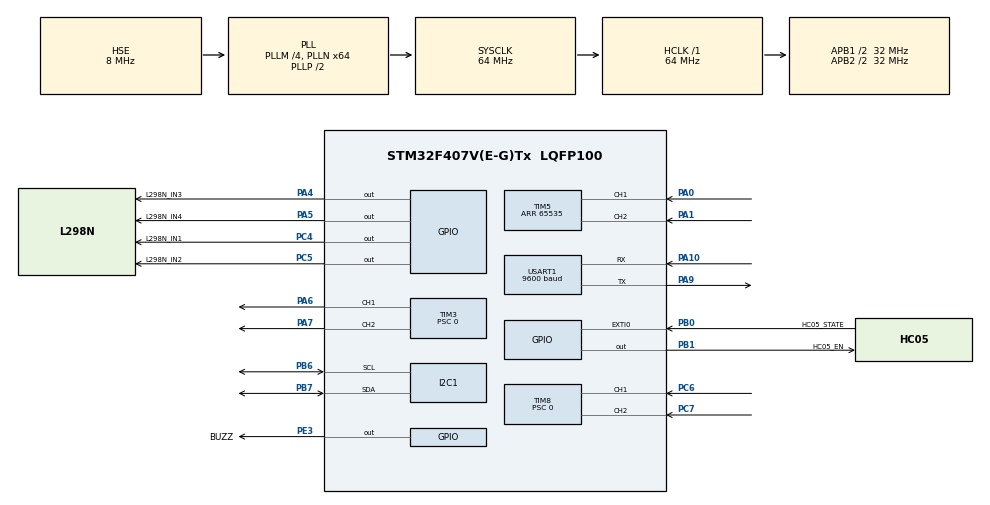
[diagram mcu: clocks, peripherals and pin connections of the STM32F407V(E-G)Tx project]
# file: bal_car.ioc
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Dma.Request0=USART1_TX
Dma.Request1=USART1_RX
Dma.USART1_RX.1.Direction=DMA_PERIPH_TO_MEMORY
Dma.USART1_RX.1.FIFOMode=DMA_FIFOMODE_DISABLE
Dma.USART1_RX.1.Instance=DMA2_Stream2
Dma.USART1_RX.1.MemDataAlignment=DMA_MDATAALIGN_BYTE
Dma.USART1_RX.1.MemInc=DMA_MINC_ENABLE
Dma.USART1_RX.1.Mode=DMA_NORMAL
Dma.USART1_RX.1.PeriphDataAlignment=DMA_PDATAALIGN_BYTE
Dma.USART1_RX.1.PeriphInc=DMA_PINC_DISABLE
Dma.USART1_RX.1.Priority=DMA_PRIORITY_LOW
Dma.USART1_TX.0.Direction=DMA_MEMORY_TO_PERIPH
Dma.USART1_TX.0.FIFOMode=DMA_FIFOMODE_DISABLE
Dma.USART1_TX.0.Instance=DMA2_Stream7
Dma.USART1_TX.0.MemDataAlignment=DMA_MDATAALIGN_BYTE
Dma.USART1_TX.0.MemInc=DMA_MINC_ENABLE
Dma.USART1_TX.0.Mode=DMA_NORMAL
Dma.USART1_TX.0.PeriphDataAlignment=DMA_PDATAALIGN_BYTE
Dma.USART1_TX.0.PeriphInc=DMA_PINC_DISABLE
Dma.USART1_TX.0.Priority=DMA_PRIORITY_LOW
I2C1.I2C_Mode=I2C_Fast
Mcu.Family=STM32F4
Mcu.Name=STM32F407V(E-G)Tx
Mcu.Package=LQFP100
NVIC.DMA2_Stream2_IRQn=true\:0\:0\:false\:false\:true\:false\:true\:true
NVIC.DMA2_Stream7_IRQn=true\:0\:0\:false\:false\:true\:false\:true\:true
NVIC.EXTI0_IRQn=true\:0\:0\:false\:false\:true\:true\:true\:true
NVIC.PriorityGroup=NVIC_PRIORITYGROUP_4
NVIC.TIM1_UP_TIM10_IRQn=true\:0\:0\:false\:false\:true\:true\:true\:true
NVIC.TIM2_IRQn=true\:0\:0\:false\:false\:true\:true\:true\:true
NVIC.TIM4_IRQn=true\:0\:0\:false\:false\:true\:true\:true\:true
NVIC.TIM8_UP_TIM13_IRQn=true\:0\:0\:false\:false\:true\:true\:true\:true
NVIC.USART1_IRQn=true\:0\:0\:false\:false\:true\:true\:true\:true
PA0-WKUP.Signal=S_TIM5_CH1
PA1.Signal=S_TIM5_CH2
PA10.Mode=Asynchronous
PA10.Signal=USART1_RX
PA13.Mode=Serial_Wire
PA13.Signal=SYS_JTMS-SWDIO
PA14.Mode=Serial_Wire
PA14.Signal=SYS_JTCK-SWCLK
PA4.GPIO_Label=L298N_IN3
PA4.Signal=GPIO_Output
PA5.GPIO_Label=L298N_IN4
PA5.Signal=GPIO_Output
PA6.Signal=S_TIM3_CH1
PA7.Signal=S_TIM3_CH2
PA9.Mode=Asynchronous
PA9.Signal=USART1_TX
PB0.GPIO_Label=HC05_STATE
PB0.GPIO_ModeDefaultEXTI=GPIO_MODE_IT_RISING_FALLING
PB0.GPIO_PuPd=GPIO_PULLDOWN
PB0.Signal=GPXTI0
PB1.GPIO_Label=HC05_EN
PB1.Signal=GPIO_Output
PB6.Mode=I2C
PB6.Signal=I2C1_SCL
PB7.Mode=I2C
PB7.Signal=I2C1_SDA
PC4.GPIO_Label=L298N_IN1
PC4.Signal=GPIO_Output
PC5.GPIO_Label=L298N_IN2
PC5.Signal=GPIO_Output
PC6.Signal=S_TIM8_CH1
PC7.Signal=S_TIM8_CH2
PE3.GPIO_Label=BUZZ
PE3.PinState=GPIO_PIN_SET
PE3.Signal=GPIO_Output
PH0-OSC_IN.Mode=HSE-External-Oscillator
PH0-OSC_IN.Signal=RCC_OSC_IN
PH1-OSC_OUT.Mode=HSE-External-Oscillator
PH1-OSC_OUT.Signal=RCC_OSC_OUT
ProjectManager.HeapSize=0x200
ProjectManager.StackSize=0x400
ProjectManager.TargetToolchain=STM32CubeIDE
RCC.48MHZClocksFreq_Value=32000000
RCC.AHBFreq_Value=64000000
RCC.APB1CLKDivider=RCC_HCLK_DIV2
RCC.APB1Freq_Value=32000000
RCC.APB1TimFreq_Value=64000000
RCC.APB2CLKDivider=RCC_HCLK_DIV2
RCC.APB2Freq_Value=32000000
RCC.APB2TimFreq_Value=64000000
RCC.CortexFreq_Value=64000000
RCC.HCLKFreq_Value=64000000
RCC.HSE_VALUE=8000000
RCC.HSI_VALUE=16000000
RCC.LSE_VALUE=32768
RCC.PLLM=4
RCC.PLLN=64
RCC.PLLSourceVirtual=RCC_PLLSOURCE_HSE
RCC.SYSCLKFreq_VALUE=64000000
RCC.SYSCLKSource=RCC_SYSCLKSOURCE_PLLCLK
RCC.VCOOutputFreq_Value=128000000
SH.S_TIM3_CH1.0=TIM3_CH1,PWM Generation1 CH1
SH.S_TIM3_CH2.0=TIM3_CH2,PWM Generation2 CH2
SH.S_TIM5_CH1.0=TIM5_CH1,Encoder_Interface
SH.S_TIM5_CH2.0=TIM5_CH2,Encoder_Interface
SH.S_TIM8_CH1.0=TIM8_CH1,Encoder_Interface
SH.S_TIM8_CH2.0=TIM8_CH2,Encoder_Interface
TIM1.Period=63999
TIM1.Prescaler=9
TIM2.Period=39999
TIM3.Channel-PWM\ Generation1\ CH1=TIM_CHANNEL_1
TIM3.Channel-PWM\ Generation2\ CH2=TIM_CHANNEL_2
TIM3.Period=3199
TIM3.Prescaler=0
TIM4.Period=63999
TIM4.Prescaler=24
TIM5.EncoderMode=TIM_ENCODERMODE_TI12
TIM5.Period=65535
TIM8.EncoderMode=TIM_ENCODERMODE_TI12
TIM8.Period=65535
TIM8.Prescaler=0
USART1.BaudRate=9600
USART1.VirtualMode=VM_ASYNC
VP_TIM1_VS_ClockSourceINT.Mode=Internal
VP_TIM2_VS_ClockSourceINT.Mode=Internal
VP_TIM3_VS_ClockSourceINT.Mode=Internal
VP_TIM4_VS_ClockSourceINT.Mode=Internal
board=custom

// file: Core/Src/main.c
/* USER CODE BEGIN Header */
/**
 ******************************************************************************
 * @file           : main.c
 * @brief          : Main program body
 ******************************************************************************
 * @attention
 *
 * Copyright (c) 2026 STMicroelectronics.
 * All rights reserved.
 *
 * This software is licensed under terms that can be found in the LICENSE file
 * in the root directory of this software component.
 * If no LICENSE file comes with this software, it is provided AS-IS.
 *
 ******************************************************************************
 */
/* USER CODE END Header */
#include "main.h"

/* USER CODE BEGIN Includes */
#include "l298n.h"
#include "mpu6050.h"
#include "math.h"

#include "stdio.h"
#include "stdlib.h"
#include "pidcb.h"
#include "hc05.h"

#include "conf.h"
#include "encoder.h"
#include "interrupt.h"
#include <stdio.h>
#include <stdlib.h>
#include "mixer.h"
/* USER CODE END Includes */

I2C_HandleTypeDef hi2c1;

TIM_HandleTypeDef htim1;
TIM_HandleTypeDef htim2;
TIM_HandleTypeDef htim3;
TIM_HandleTypeDef htim4;
TIM_HandleTypeDef htim5;
TIM_HandleTypeDef htim8;

UART_HandleTypeDef huart1;
DMA_HandleTypeDef hdma_usart1_tx;
DMA_HandleTypeDef hdma_usart1_rx;

void SystemClock_Config(void);
static void MX_GPIO_Init(void);
static void MX_DMA_Init(void);
static void MX_TIM3_Init(void);
static void MX_TIM5_Init(void);
static void MX_TIM2_Init(void);
static void MX_I2C1_Init(void);
static void MX_TIM1_Init(void);
static void MX_USART1_UART_Init(void);
static void MX_TIM8_Init(void);
static void MX_TIM4_Init(void);

/* USER CODE BEGIN 0 */
float v_ref_r = 0, e_prev_r = 0;
float v_ref_l = 0, e_prev_l = 0;
float pitch_rate = 0, pitch = 0;
float yaw_rate = 0, yaw = 0;
float speed_rpm_l = 0;
float speed_rpm_r = 0;
/* USER CODE END 0 */

int main(void)
{

  /* MCU Configuration--------------------------------------------------------*/

  /* Reset of all peripherals, Initializes the Flash interface and the Systick. */
  HAL_Init();

  /* Configure the system clock */
  SystemClock_Config();

  /* Initialize all configured peripherals */
  MX_GPIO_Init();
  MX_DMA_Init();
  MX_TIM3_Init();
  MX_TIM5_Init();
  MX_TIM2_Init();
  MX_I2C1_Init();
  MX_TIM1_Init();
  MX_USART1_UART_Init();
  MX_TIM8_Init();
  MX_TIM4_Init();
  /* USER CODE BEGIN 2 */

  Encoder_Init(&enc_r, &htim5, ENCODER_PPR, ENCODER_MULT, ENC_CENTER, ENC_TS);
  Encoder_Init(&enc_l, &htim8, ENCODER_PPR, ENCODER_MULT, ENC_CENTER, ENC_TS);
  HC05_Init(&hc05, &huart1, &hdma_usart1_rx, (Pin_t){HC05_EN_GPIO_Port, HC05_EN_Pin}, (Pin_t){HC05_STATE_GPIO_Port, HC05_STATE_Pin});
  MPU6050_Init(&mpu, &hi2c1, MPU6050_ADDR_1, MPU_UNIT, MPU_TS);
  MPU6050_Config(&mpu);
  L298N_Init(&l298, &htim3, (Pin_t){L298N_IN1_GPIO_Port, L298N_IN1_Pin}, (Pin_t){L298N_IN2_GPIO_Port, L298N_IN2_Pin}, (Pin_t){L298N_IN3_GPIO_Port, L298N_IN3_Pin}, (Pin_t){L298N_IN4_GPIO_Port, L298N_IN4_Pin}, TIM_CHANNEL_1, TIM_CHANNEL_2);
  PID_Init(&pid_vec_left, 0, KP_VECL, KI_VECL, KD_VECL, TS_VEC, OUT_MIN_VEC, OUT_MAX_VEC, INT_MIN_VEC, INT_MAX_VEC);
  PID_Init(&pid_vec_right, 0, KP_VECR, KI_VECR, KD_VECR, TS_VEC, OUT_MIN_VEC, OUT_MAX_VEC, INT_MIN_VEC, INT_MAX_VEC);
  PID_Init(&pid_pitch, SP_P, KP_P, KI_P, KD_P, TS_P, OUT_MIN_P, OUT_MAX_P, INT_MIN_P, INT_MAX_P);
  PID_Init(&pid_yaw, SP_Y, KP_Y, KI_Y, KD_Y, TS_P, OUT_MIN_Y, OUT_MAX_Y, INT_MIN_Y, INT_MAX_Y);

  HC05_Start_Rx_DMA(&hc05);
  Encoder_Start(&enc_l);
  Encoder_Start(&enc_r);
  MPU6050_Calibrate(&mpu, MPU_N_SAMPLES);

  HAL_TIM_Base_Start_IT(&htim4); // Read Encoder
  HAL_TIM_Base_Start_IT(&htim1); // Read IMU
  L298N_Set_Duty(&l298, MOTOR1, 100.0f);
  L298N_Set_Duty(&l298, MOTOR2, 100.0f);
  L298N_Update_Motor(&l298);
  /* USER CODE END 2 */

  /* Infinite loop */
  /* USER CODE BEGIN WHILE */
  //	float measurement;
  //	float gyro_rate;

  while (1)
  {
	  if(read_speed_flag == 1)
	  {
		  read_speed_flag = 0;
		  Encoder_Calc_Speed(&enc_l, 0.9);
		  Encoder_Calc_Speed(&enc_r, 0.9);
		  speed_rpm_l = Change_Unit(enc_l.speed_filtered, RadPS, RoundPM);
		  speed_rpm_r = Change_Unit(enc_r.speed_filtered, RadPS, RoundPM);

	  }
  }
    /* USER CODE END WHILE */

}

void SystemClock_Config(void)
{
  RCC_OscInitTypeDef RCC_OscInitStruct = {0};
  RCC_ClkInitTypeDef RCC_ClkInitStruct = {0};

  /** Configure the main internal regulator output voltage
  */
  __HAL_RCC_PWR_CLK_ENABLE();
  __HAL_PWR_VOLTAGESCALING_CONFIG(PWR_REGULATOR_VOLTAGE_SCALE1);

  /** Initializes the RCC Oscillators according to the specified parameters
  * in the RCC_OscInitTypeDef structure.
  */
  RCC_OscInitStruct.OscillatorType = RCC_OSCILLATORTYPE_HSE;
  RCC_OscInitStruct.HSEState = RCC_HSE_ON;
  RCC_OscInitStruct.PLL.PLLState = RCC_PLL_ON;
  RCC_OscInitStruct.PLL.PLLSource = RCC_PLLSOURCE_HSE;
  RCC_OscInitStruct.PLL.PLLM = 4;
  RCC_OscInitStruct.PLL.PLLN = 64;
  RCC_OscInitStruct.PLL.PLLP = RCC_PLLP_DIV2;
  RCC_OscInitStruct.PLL.PLLQ = 4;
  if (HAL_RCC_OscConfig(&RCC_OscInitStruct) != HAL_OK)
  {
    Error_Handler();
  }

  /** Initializes the CPU, AHB and APB buses clocks
  */
  RCC_ClkInitStruct.ClockType = RCC_CLOCKTYPE_HCLK|RCC_CLOCKTYPE_SYSCLK
                              |RCC_CLOCKTYPE_PCLK1|RCC_CLOCKTYPE_PCLK2;
  RCC_ClkInitStruct.SYSCLKSource = RCC_SYSCLKSOURCE_PLLCLK;
  RCC_ClkInitStruct.AHBCLKDivider = RCC_SYSCLK_DIV1;
  RCC_ClkInitStruct.APB1CLKDivider = RCC_HCLK_DIV2;
  RCC_ClkInitStruct.APB2CLKDivider = RCC_HCLK_DIV2;

  if (HAL_RCC_ClockConfig(&RCC_ClkInitStruct, FLASH_LATENCY_2) != HAL_OK)
  {
    Error_Handler();
  }
}

static void MX_I2C1_Init(void)
{

  hi2c1.Instance = I2C1;
  hi2c1.Init.ClockSpeed = 400000;
  hi2c1.Init.DutyCycle = I2C_DUTYCYCLE_2;
  hi2c1.Init.OwnAddress1 = 0;
  hi2c1.Init.AddressingMode = I2C_ADDRESSINGMODE_7BIT;
  hi2c1.Init.DualAddressMode = I2C_DUALADDRESS_DISABLE;
  hi2c1.Init.OwnAddress2 = 0;
  hi2c1.Init.GeneralCallMode = I2C_GENERALCALL_DISABLE;
  hi2c1.Init.NoStretchMode = I2C_NOSTRETCH_DISABLE;
  if (HAL_I2C_Init(&hi2c1) != HAL_OK)
  {
    Error_Handler();
  }

}

static void MX_TIM1_Init(void)
{

  TIM_ClockConfigTypeDef sClockSourceConfig = {0};
  TIM_MasterConfigTypeDef sMasterConfig = {0};

  htim1.Instance = TIM1;
  htim1.Init.Prescaler = 9;
  htim1.Init.CounterMode = TIM_COUNTERMODE_UP;
  htim1.Init.Period = 63999;
  htim1.Init.ClockDivision = TIM_CLOCKDIVISION_DIV1;
  htim1.Init.RepetitionCounter = 0;
  htim1.Init.AutoReloadPreload = TIM_AUTORELOAD_PRELOAD_DISABLE;
  if (HAL_TIM_Base_Init(&htim1) != HAL_OK)
  {
    Error_Handler();
  }
  sClockSourceConfig.ClockSource = TIM_CLOCKSOURCE_INTERNAL;
  if (HAL_TIM_ConfigClockSource(&htim1, &sClockSourceConfig) != HAL_OK)
  {
    Error_Handler();
  }
  sMasterConfig.MasterOutputTrigger = TIM_TRGO_RESET;
  sMasterConfig.MasterSlaveMode = TIM_MASTERSLAVEMODE_DISABLE;
  if (HAL_TIMEx_MasterConfigSynchronization(&htim1, &sMasterConfig) != HAL_OK)
  {
    Error_Handler();
  }

}

static void MX_TIM2_Init(void)
{

  TIM_ClockConfigTypeDef sClockSourceConfig = {0};
  TIM_MasterConfigTypeDef sMasterConfig = {0};

  htim2.Instance = TIM2;
  htim2.Init.Prescaler = 0;
  htim2.Init.CounterMode = TIM_COUNTERMODE_UP;
  htim2.Init.Period = 39999;
  htim2.Init.ClockDivision = TIM_CLOCKDIVISION_DIV1;
  htim2.Init.AutoReloadPreload = TIM_AUTORELOAD_PRELOAD_DISABLE;
  if (HAL_TIM_Base_Init(&htim2) != HAL_OK)
  {
    Error_Handler();
  }
  sClockSourceConfig.ClockSource = TIM_CLOCKSOURCE_INTERNAL;
  if (HAL_TIM_ConfigClockSource(&htim2, &sClockSourceConfig) != HAL_OK)
  {
    Error_Handler();
  }
  sMasterConfig.MasterOutputTrigger = TIM_TRGO_RESET;
  sMasterConfig.MasterSlaveMode = TIM_MASTERSLAVEMODE_DISABLE;
  if (HAL_TIMEx_MasterConfigSynchronization(&htim2, &sMasterConfig) != HAL_OK)
  {
    Error_Handler();
  }

}

static void MX_TIM3_Init(void)
{

  TIM_ClockConfigTypeDef sClockSourceConfig = {0};
  TIM_MasterConfigTypeDef sMasterConfig = {0};
  TIM_OC_InitTypeDef sConfigOC = {0};

  htim3.Instance = TIM3;
  htim3.Init.Prescaler = 0;
  htim3.Init.CounterMode = TIM_COUNTERMODE_UP;
  htim3.Init.Period = 3199;
  htim3.Init.ClockDivision = TIM_CLOCKDIVISION_DIV1;
  htim3.Init.AutoReloadPreload = TIM_AUTORELOAD_PRELOAD_DISABLE;
  if (HAL_TIM_Base_Init(&htim3) != HAL_OK)
  {
    Error_Handler();
  }
  sClockSourceConfig.ClockSource = TIM_CLOCKSOURCE_INTERNAL;
  if (HAL_TIM_ConfigClockSource(&htim3, &sClockSourceConfig) != HAL_OK)
  {
    Error_Handler();
  }
  if (HAL_TIM_PWM_Init(&htim3) != HAL_OK)
  {
    Error_Handler();
  }
  sMasterConfig.MasterOutputTrigger = TIM_TRGO_RESET;
  sMasterConfig.MasterSlaveMode = TIM_MASTERSLAVEMODE_DISABLE;
  if (HAL_TIMEx_MasterConfigSynchronization(&htim3, &sMasterConfig) != HAL_OK)
  {
    Error_Handler();
  }
  sConfigOC.OCMode = TIM_OCMODE_PWM1;
  sConfigOC.Pulse = 0;
  sConfigOC.OCPolarity = TIM_OCPOLARITY_HIGH;
  sConfigOC.OCFastMode = TIM_OCFAST_DISABLE;
  if (HAL_TIM_PWM_ConfigChannel(&htim3, &sConfigOC, TIM_CHANNEL_1) != HAL_OK)
  {
    Error_Handler();
  }
  if (HAL_TIM_PWM_ConfigChannel(&htim3, &sConfigOC, TIM_CHANNEL_2) != HAL_OK)
  {
    Error_Handler();
  }
  HAL_TIM_MspPostInit(&htim3);

}

static void MX_TIM4_Init(void)
{

  TIM_ClockConfigTypeDef sClockSourceConfig = {0};
  TIM_MasterConfigTypeDef sMasterConfig = {0};

  htim4.Instance = TIM4;
  htim4.Init.Prescaler = 24;
  htim4.Init.CounterMode = TIM_COUNTERMODE_UP;
  htim4.Init.Period = 63999;
  htim4.Init.ClockDivision = TIM_CLOCKDIVISION_DIV1;
  htim4.Init.AutoReloadPreload = TIM_AUTORELOAD_PRELOAD_DISABLE;
  if (HAL_TIM_Base_Init(&htim4) != HAL_OK)
  {
    Error_Handler();
  }
  sClockSourceConfig.ClockSource = TIM_CLOCKSOURCE_INTERNAL;
  if (HAL_TIM_ConfigClockSource(&htim4, &sClockSourceConfig) != HAL_OK)
  {
    Error_Handler();
  }
  sMasterConfig.MasterOutputTrigger = TIM_TRGO_RESET;
  sMasterConfig.MasterSlaveMode = TIM_MASTERSLAVEMODE_DISABLE;
  if (HAL_TIMEx_MasterConfigSynchronization(&htim4, &sMasterConfig) != HAL_OK)
  {
    Error_Handler();
  }

}

static void MX_TIM5_Init(void)
{

  TIM_Encoder_InitTypeDef sConfig = {0};
  TIM_MasterConfigTypeDef sMasterConfig = {0};

  htim5.Instance = TIM5;
  htim5.Init.Prescaler = 0;
  htim5.Init.CounterMode = TIM_COUNTERMODE_UP;
  htim5.Init.Period = 65535;
  htim5.Init.ClockDivision = TIM_CLOCKDIVISION_DIV1;
  htim5.Init.AutoReloadPreload = TIM_AUTORELOAD_PRELOAD_DISABLE;
  sConfig.EncoderMode = TIM_ENCODERMODE_TI12;
  sConfig.IC1Polarity = TIM_ICPOLARITY_RISING;
  sConfig.IC1Selection = TIM_ICSELECTION_DIRECTTI;
  sConfig.IC1Prescaler = TIM_ICPSC_DIV1;
  sConfig.IC1Filter = 0;
  sConfig.IC2Polarity = TIM_ICPOLARITY_RISING;
  sConfig.IC2Selection = TIM_ICSELECTION_DIRECTTI;
  sConfig.IC2Prescaler = TIM_ICPSC_DIV1;
  sConfig.IC2Filter = 0;
  if (HAL_TIM_Encoder_Init(&htim5, &sConfig) != HAL_OK)
  {
    Error_Handler();
  }
  sMasterConfig.MasterOutputTrigger = TIM_TRGO_RESET;
  sMasterConfig.MasterSlaveMode = TIM_MASTERSLAVEMODE_DISABLE;
  if (HAL_TIMEx_MasterConfigSynchronization(&htim5, &sMasterConfig) != HAL_OK)
  {
    Error_Handler();
  }

}

static void MX_TIM8_Init(void)
{

  TIM_Encoder_InitTypeDef sConfig = {0};
  TIM_MasterConfigTypeDef sMasterConfig = {0};

  htim8.Instance = TIM8;
  htim8.Init.Prescaler = 0;
  htim8.Init.CounterMode = TIM_COUNTERMODE_UP;
  htim8.Init.Period = 65535;
  htim8.Init.ClockDivision = TIM_CLOCKDIVISION_DIV1;
  htim8.Init.RepetitionCounter = 0;
  htim8.Init.AutoReloadPreload = TIM_AUTORELOAD_PRELOAD_DISABLE;
  sConfig.EncoderMode = TIM_ENCODERMODE_TI12;
  sConfig.IC1Polarity = TIM_ICPOLARITY_RISING;
  sConfig.IC1Selection = TIM_ICSELECTION_DIRECTTI;
  sConfig.IC1Prescaler = TIM_ICPSC_DIV1;
  sConfig.IC1Filter = 0;
  sConfig.IC2Polarity = TIM_ICPOLARITY_RISING;
  sConfig.IC2Selection = TIM_ICSELECTION_DIRECTTI;
  sConfig.IC2Prescaler = TIM_ICPSC_DIV1;
  sConfig.IC2Filter = 0;
  if (HAL_TIM_Encoder_Init(&htim8, &sConfig) != HAL_OK)
  {
    Error_Handler();
  }
  sMasterConfig.MasterOutputTrigger = TIM_TRGO_RESET;
  sMasterConfig.MasterSlaveMode = TIM_MASTERSLAVEMODE_DISABLE;
  if (HAL_TIMEx_MasterConfigSynchronization(&htim8, &sMasterConfig) != HAL_OK)
  {
    Error_Handler();
  }

}

static void MX_USART1_UART_Init(void)
{

  huart1.Instance = USART1;
  huart1.Init.BaudRate = 9600;
  huart1.Init.WordLength = UART_WORDLENGTH_8B;
  huart1.Init.StopBits = UART_STOPBITS_1;
  huart1.Init.Parity = UART_PARITY_NONE;
  huart1.Init.Mode = UART_MODE_TX_RX;
  huart1.Init.HwFlowCtl = UART_HWCONTROL_NONE;
  huart1.Init.OverSampling = UART_OVERSAMPLING_16;
  if (HAL_UART_Init(&huart1) != HAL_OK)
  {
    Error_Handler();
  }

}

static void MX_DMA_Init(void)
{

  /* DMA controller clock enable */
  __HAL_RCC_DMA2_CLK_ENABLE();

  /* DMA interrupt init */
  /* DMA2_Stream2_IRQn interrupt configuration */
  HAL_NVIC_SetPriority(DMA2_Stream2_IRQn, 0, 0);
  HAL_NVIC_EnableIRQ(DMA2_Stream2_IRQn);
  /* DMA2_Stream7_IRQn interrupt configuration */
  HAL_NVIC_SetPriority(DMA2_Stream7_IRQn, 0, 0);
  HAL_NVIC_EnableIRQ(DMA2_Stream7_IRQn);

}

static void MX_GPIO_Init(void)
{
  GPIO_InitTypeDef GPIO_InitStruct = {0};

  /* GPIO Ports Clock Enable */
  __HAL_RCC_GPIOE_CLK_ENABLE();
  __HAL_RCC_GPIOH_CLK_ENABLE();
  __HAL_RCC_GPIOA_CLK_ENABLE();
  __HAL_RCC_GPIOC_CLK_ENABLE();
  __HAL_RCC_GPIOB_CLK_ENABLE();

  /*Configure GPIO pin Output Level */
  HAL_GPIO_WritePin(BUZZ_GPIO_Port, BUZZ_Pin, GPIO_PIN_SET);

  /*Configure GPIO pin Output Level */
  HAL_GPIO_WritePin(GPIOA, L298N_IN3_Pin|L298N_IN4_Pin, GPIO_PIN_RESET);

  /*Configure GPIO pin Output Level */
  HAL_GPIO_WritePin(GPIOC, L298N_IN1_Pin|L298N_IN2_Pin, GPIO_PIN_RESET);

  /*Configure GPIO pin Output Level */
  HAL_GPIO_WritePin(HC05_EN_GPIO_Port, HC05_EN_Pin, GPIO_PIN_RESET);

  /*Configure GPIO pin : BUZZ_Pin */
  GPIO_InitStruct.Pin = BUZZ_Pin;
  GPIO_InitStruct.Mode = GPIO_MODE_OUTPUT_PP;
  GPIO_InitStruct.Pull = GPIO_NOPULL;
  GPIO_InitStruct.Speed = GPIO_SPEED_FREQ_LOW;
  HAL_GPIO_Init(BUZZ_GPIO_Port, &GPIO_InitStruct);

  /*Configure GPIO pins : L298N_IN3_Pin L298N_IN4_Pin */
  GPIO_InitStruct.Pin = L298N_IN3_Pin|L298N_IN4_Pin;
  GPIO_InitStruct.Mode = GPIO_MODE_OUTPUT_PP;
  GPIO_InitStruct.Pull = GPIO_NOPULL;
  GPIO_InitStruct.Speed = GPIO_SPEED_FREQ_LOW;
  HAL_GPIO_Init(GPIOA, &GPIO_InitStruct);

  /*Configure GPIO pins : L298N_IN1_Pin L298N_IN2_Pin */
  GPIO_InitStruct.Pin = L298N_IN1_Pin|L298N_IN2_Pin;
  GPIO_InitStruct.Mode = GPIO_MODE_OUTPUT_PP;
  GPIO_InitStruct.Pull = GPIO_NOPULL;
  GPIO_InitStruct.Speed = GPIO_SPEED_FREQ_LOW;
  HAL_GPIO_Init(GPIOC, &GPIO_InitStruct);

  /*Configure GPIO pin : HC05_STATE_Pin */
  GPIO_InitStruct.Pin = HC05_STATE_Pin;
  GPIO_InitStruct.Mode = GPIO_MODE_IT_RISING_FALLING;
  GPIO_InitStruct.Pull = GPIO_PULLDOWN;
  HAL_GPIO_Init(HC05_STATE_GPIO_Port, &GPIO_InitStruct);

  /*Configure GPIO pin : HC05_EN_Pin */
  GPIO_InitStruct.Pin = HC05_EN_Pin;
  GPIO_InitStruct.Mode = GPIO_MODE_OUTPUT_PP;
  GPIO_InitStruct.Pull = GPIO_NOPULL;
  GPIO_InitStruct.Speed = GPIO_SPEED_FREQ_LOW;
  HAL_GPIO_Init(HC05_EN_GPIO_Port, &GPIO_InitStruct);

  /* EXTI interrupt init*/
  HAL_NVIC_SetPriority(EXTI0_IRQn, 0, 0);
  HAL_NVIC_EnableIRQ(EXTI0_IRQn);

}

void Error_Handler(void)
{
  __disable_irq();
  while (1)
  {
  }
}
